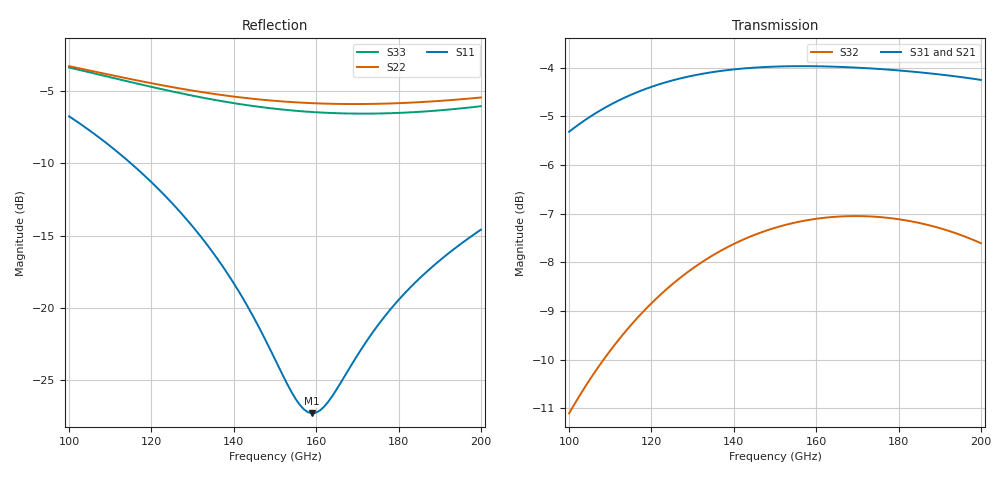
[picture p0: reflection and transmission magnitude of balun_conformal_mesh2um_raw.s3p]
#  GHZ S DB R 50.0
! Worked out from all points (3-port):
!   101 points, 100 GHz to 200 GHz, reference 50 ohm
!   strongest paths, dB at 100 GHz, 125 GHz, 150 GHz, 175 GHz, 200 GHz:
!     S31: -5.3, -4.3, -4.0, -4.0, -4.2
!     S21: -5.2, -4.2, -4.0, -4.1, -4.3
!     S32: -11.1, -8.5, -7.3, -7.1, -7.6
!   lowest |S11| = -27.3 dB at 159 GHz (marker M1), VSWR 1.09, Z = 54.1 - j1.69 ohm
!   |S11| at or under -10 dB: 115 GHz to end of sweep
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100  -6.73 133.0  -5.24 -4.3  -5.32 173.4
     -5.24 -4.3  -3.25 61.6  -11.10 94.2
     -5.32 173.4  -11.10 94.2  -3.34 53.6
114  -9.74 109.7  -4.56 -25.3  -4.59 151.5
     -4.56 -25.3  -4.09 48.6  -9.39 74.6
     -4.59 151.5  -9.39 74.6  -4.29 39.2
129  -14.03 85.4  -4.17 -46.1  -4.18 129.7
     -4.17 -46.1  -4.90 36.5  -8.19 54.8
     -4.18 129.7  -8.19 54.8  -5.24 26.0
140  -18.32 64.9  -4.04 -60.5  -4.03 114.6
     -4.04 -60.5  -5.36 28.5  -7.62 41.0
     -4.03 114.6  -7.62 41.0  -5.81 17.4
150  -23.59 35.3  -4.00 -73.0  -3.98 101.5
     -4.00 -73.0  -5.65 21.7  -7.29 28.9
     -3.98 101.5  -7.29 28.9  -6.20 10.2
155  -26.33 8.4  -3.99 -79.1  -3.97 95.2
     -3.99 -79.1  -5.75 18.3  -7.18 23.0
     -3.97 95.2  -7.18 23.0  -6.34 6.7
159  -27.33 -21.3  -4.00 -83.9  -3.97 90.1
     -4.00 -83.9  -5.81 15.6  -7.12 18.3
     -3.97 90.1  -7.12 18.3  -6.43 3.9
163  -26.50 -49.9  -4.01 -88.6  -3.98 85.1
     -4.01 -88.6  -5.85 12.9  -7.08 13.7
     -3.98 85.1  -7.08 13.7  -6.49 1.2
181  -19.16 -105.3  -4.12 -109.5  -4.06 63.1
     -4.12 -109.5  -5.80 0.3  -7.13 -7.0
     -4.06 63.1  -7.13 -7.0  -6.48 -11.5
200  -14.59 -127.4  -4.33 -131.5  -4.25 40.0
     -4.33 -131.5  -5.42 -14.3  -7.61 -28.9
     -4.25 40.0  -7.61 -28.9  -6.03 -26.4
